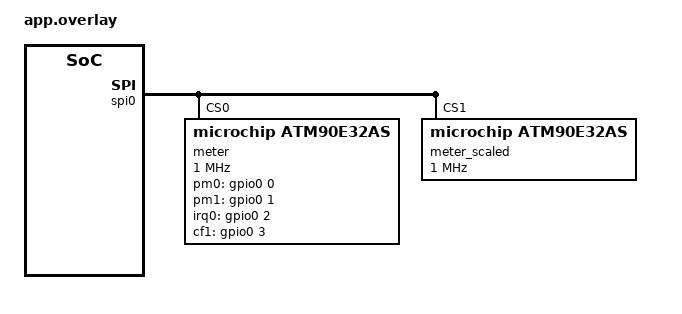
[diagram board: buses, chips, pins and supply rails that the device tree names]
/*
 * Copyright (c) 2025 Pedro Ramos
 *
 * SPDX-License-Identifier: Apache-2.0
 */

#include <zephyr/dt-bindings/gpio/gpio.h>

&spi0 {
	meter: atm90e32as@0 {
		compatible = "microchip,atm90e32as";
		reg = <0>;
		spi-max-frequency = <1000000>;
		meter-constant = <3200>;
		mmode0 = <0x0185>;
		f0 = <6000>;
		p-start-th = <0x0123>;
		u-gain = <0x8000 0x7000 0x6000>;
		i-gain = <0x8000 0x8000 0x4000>;
		emm-int-en = <0x0001 0x0002>;
		pm0-gpios = <&gpio0 0 GPIO_ACTIVE_HIGH>;
		pm1-gpios = <&gpio0 1 GPIO_ACTIVE_HIGH>;
		irq0-gpios = <&gpio0 2 GPIO_ACTIVE_HIGH>;
		cf1-gpios = <&gpio0 3 GPIO_ACTIVE_HIGH>;
	};

	/* Calibrated to read 40% of the actual current */
	meter_scaled: atm90e32as@1 {
		compatible = "microchip,atm90e32as";
		reg = <1>;
		spi-max-frequency = <1000000>;
		current-scale = <5 2>;
	};
};
